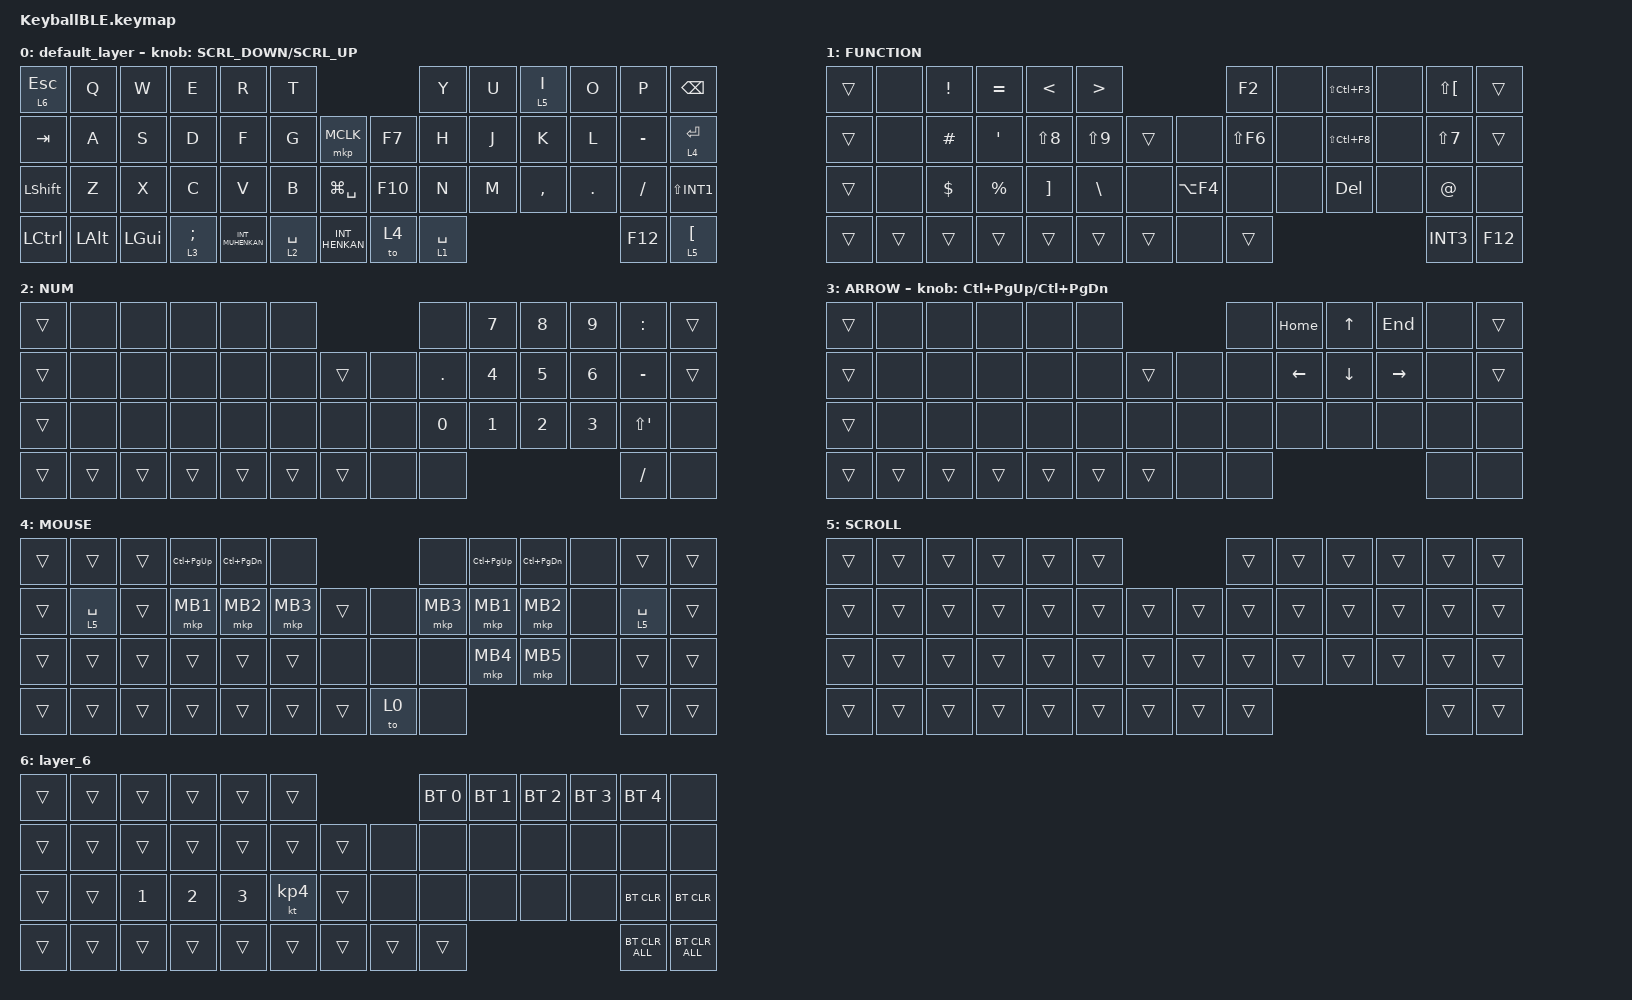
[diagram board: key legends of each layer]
#define ZMK_POINTING_DEFAULT_SCRL_VAL 120    // default: 10

#include <behaviors.dtsi>
#include <dt-bindings/zmk/bt.h>
#include <dt-bindings/zmk/keys.h>
#include <dt-bindings/zmk/pointing.h>

#define MOUSE 4
#define SCROLL 5
#define NUM 6

&mt {
    flavor = "balanced";
    quick-tap-ms = <0>;
};

/ {
    combos {
        compatible = "zmk,combos";

        double_quotation {
            bindings = <&kp DOUBLE_QUOTES>;
            key-positions = <20 21>;
        };
    };

    macros {
        to_layer_0: to_layer_0 {
            compatible = "zmk,behavior-macro-one-param";
            #binding-cells = <1>;
            bindings = <&to 0 &macro_param_1to1 &kp MACRO_PLACEHOLDER>;
            label = "TO_LAYER_0";
        };
    };

    behaviors {
        lt_to_layer_0: lt_to_layer_0 {
            compatible = "zmk,behavior-hold-tap";
            label = "LAYER_TAP_TO_0";
            bindings = <&mo>, <&to_layer_0>;

            #binding-cells = <2>;
            tapping-term-ms = <200>;
        };

        ROTATE: ROTATE {
            compatible = "zmk,behavior-sensor-rotate-var";
            label = "ROTATE";
            #sensor-binding-cells = <2>;
            bindings = <&msc>, <&msc>;

            tap-ms = <20>;
        };
    };

    keymap {
        compatible = "zmk,keymap";

        default_layer {
            bindings = <
&lt 6 ESCAPE  &kp Q         &kp W         &kp E            &kp R             &kp T                                   &kp Y        &kp U  &lt 5 I    &kp O    &kp P      &kp BSPC
&kp TAB       &kp A         &kp S         &kp D            &kp F             &kp G        &mkp MCLK         &kp F7   &kp H        &kp J  &kp K      &kp L    &kp MINUS  &lt 4 ENTER
&kp LSHFT     &kp Z         &kp X         &kp C            &kp V             &kp B        &kp LG(SPACE)     &kp F10  &kp N        &kp M  &kp COMMA  &kp DOT  &kp FSLH   &kp LS(INT1)
&kp LCTRL     &kp LEFT_ALT  &kp LEFT_GUI  &lt 3 SEMICOLON  &kp INT_MUHENKAN  &lt 2 SPACE  &kp INT_HENKAN    &to 4    &lt 1 SPACE                             &kp F12    &lt 5 LEFT_BRACKET
            >;

            sensor-bindings = <&ROTATE SCRL_DOWN SCRL_UP>;
        };

        FUNCTION {
            bindings = <
&trans  &none   &kp EXCLAMATION  &kp EQUAL    &kp LESS_THAN      &kp GREATER_THAN                        &kp F2      &none  &kp LS(LC(F3))  &none  &kp LS(LEFT_BRACKET)  &trans
&trans  &none   &kp HASH         &kp SQT      &kp LS(NUMBER_8)   &kp LS(NUMBER_9)  &trans    &none       &kp LS(F6)  &none  &kp LS(LC(F8))  &none  &kp LS(N7)            &trans
&trans  &none   &kp DOLLAR       &kp PERCENT  &kp RIGHT_BRACKET  &kp BACKSLASH     &none     &kp LA(F4)  &none       &none  &kp DELETE      &none  &kp AT_SIGN           &none
&trans  &trans  &trans           &trans       &trans             &trans            &trans    &none       &trans                                    &kp INT3              &kp F12
            >;
        };

        NUM {
            bindings = <
&trans  &none   &none   &none   &none   &none                    &none         &kp NUMBER_7  &kp NUMBER_8  &kp NUMBER_9  &kp COLON    &trans
&trans  &none   &none   &none   &none   &none   &trans    &none  &kp PERIOD    &kp NUMBER_4  &kp NUMBER_5  &kp NUMBER_6  &kp MINUS    &trans
&trans  &none   &none   &none   &none   &none   &none     &none  &kp NUMBER_0  &kp NUMBER_1  &kp NUMBER_2  &kp NUMBER_3  &kp LS(SQT)  &none
&trans  &trans  &trans  &trans  &trans  &trans  &trans    &none  &none                                                   &kp SLASH    &none
            >;
        };

        ARROW {
            bindings = <
&trans  &none   &none   &none   &none   &none                    &none  &kp HOME        &kp UP_ARROW    &kp END          &none  &trans
&trans  &none   &none   &none   &none   &none   &trans    &none  &none  &kp LEFT_ARROW  &kp DOWN_ARROW  &kp RIGHT_ARROW  &none  &trans
&trans  &none   &none   &none   &none   &none   &none     &none  &none  &none           &none           &none            &none  &none
&trans  &trans  &trans  &trans  &trans  &trans  &trans    &none  &none                                                   &none  &none
            >;

            sensor-bindings = <&inc_dec_kp LC(PAGE_UP) LC(PAGE_DOWN)>;
        };

        MOUSE {
            bindings = <
&trans  &trans       &trans  &kp LC(PAGE_UP)  &kp LC(PAGE_DOWN)  &none                      &none     &kp LC(PAGE_UP)  &kp LC(PAGE_DOWN)  &none  &trans       &trans
&trans  &lt 5 SPACE  &trans  &mkp MB1         &mkp MB2           &mkp MB3  &trans    &none  &mkp MB3  &mkp MB1         &mkp MB2           &none  &lt 5 SPACE  &trans
&trans  &trans       &trans  &trans           &trans             &trans    &none     &none  &none     &mkp MB4         &mkp MB5           &none  &trans       &trans
&trans  &trans       &trans  &trans           &trans             &trans    &trans    &to 0  &none                                                &trans       &trans
            >;
        };

        SCROLL {
            bindings = <
&trans  &trans  &trans  &trans  &trans  &trans                    &trans  &trans  &trans  &trans  &trans  &trans
&trans  &trans  &trans  &trans  &trans  &trans  &trans    &trans  &trans  &trans  &trans  &trans  &trans  &trans
&trans  &trans  &trans  &trans  &trans  &trans  &trans    &trans  &trans  &trans  &trans  &trans  &trans  &trans
&trans  &trans  &trans  &trans  &trans  &trans  &trans    &trans  &trans                          &trans  &trans
            >;
        };

        layer_6 {
            bindings = <
&trans  &trans  &trans        &trans        &trans        &trans                       &bt BT_SEL 0  &bt BT_SEL 1  &bt BT_SEL 2  &bt BT_SEL 3  &bt BT_SEL 4    &none
&trans  &trans  &trans        &trans        &trans        &trans     &trans    &none   &none         &none         &none         &none         &none           &none
&trans  &trans  &kp NUMBER_1  &kp NUMBER_2  &kp NUMBER_3  &kt KP_N4  &trans    &none   &none         &none         &none         &none         &bt BT_CLR      &bt BT_CLR
&trans  &trans  &trans        &trans        &trans        &trans     &trans    &trans  &trans                                                  &bt BT_CLR_ALL  &bt BT_CLR_ALL
            >;
        };
    };
};
